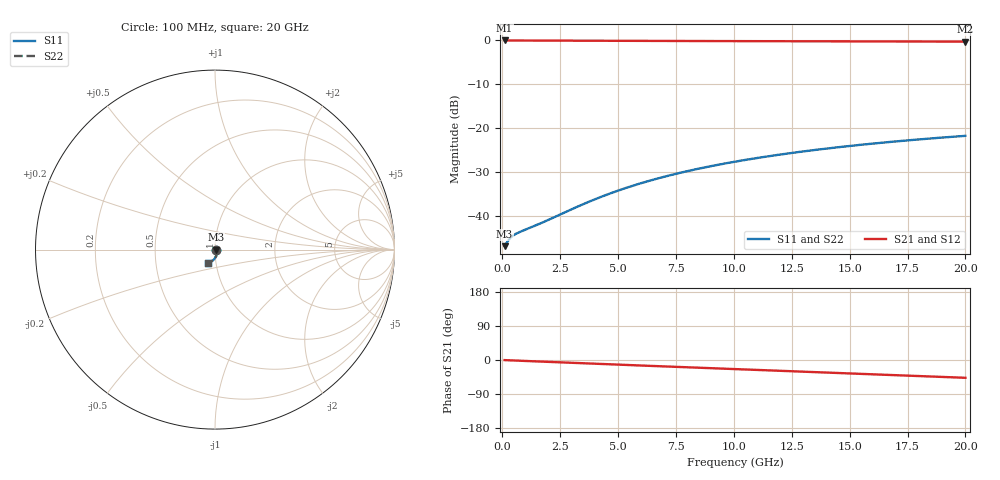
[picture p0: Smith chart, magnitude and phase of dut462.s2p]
! Touchstone file exported from HFSS 2026.1.0
!  File:  C:/ffzhzh/LocalFiles/Ansys_Project_Files/temp_train_BSMRDL_462_1783013527_51716.aedt
!  Generated:  01:33:36 AM Jul  3, 2026
!  Design:  BSMRDL
!  Project:  temp_train_BSMRDL_462_1783013527_51716
! Variables:
!  h_bsmrdl = 5.65um
!  h_ox = 20um
!  h_rdl = 5um
!  h_sub = 80um
!  h_tmrdl = 5um
!  h_tsv = 80um
!  h_via = 3um
!  l_bsmrdl = 861.8um
!  l_sub = 1261.8um
!  l_tmrdl = 200um
!  m_sub = 200um
!  pitch = 16.04um
!  r_tsv = 6um
!  s_tmrdl = 10um
!  w_bsmrdl = 12.57um
!  w_sub = 500um
!  w_tmrdl = 12um
!  x_tsv_center1 = 206um
!  x_tsv_center2 = 1080.37um
!  x_tsv_center3 = 1292.37um
!  x_tsv_center4 = 2166.74um
!  x_tsv_center5 = 2378.74um
!  x_tsv_center6 = 3253.11um
# GHz S MA R 50.000000
! Terminal data exported
! Port[1] = BSM_RDL1_1_T1
! Port[2] = BSM_RDL1_1_T2
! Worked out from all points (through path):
!   200 points, 100 MHz to 20 GHz, reference 50 ohm
!   highest |S21| = -0.04 dB at 100 MHz (marker M1); lowest = -0.3 dB at 20 GHz (marker M2)
!   group delay of S21, straight-line fit = 6.49 ps
!   lowest |S11| = -46.9 dB at 100 MHz (marker M3), VSWR 1.01, Z = 50.5 + j0.0454 ohm
!   |S11| at or under -10 dB: start of sweep to end of sweep
!   |S22| runs from -46.9 to -21.8 dB; largest |S21 - S12| = 8.2e-15
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0.1  0.004505 5.7  0.9955 -0.3  0.9955 -0.3  0.004505 5.7
! Gamma 0 0 0 0
! Port Impedance 50 0 50 0
0.2  0.00497 7.4  0.9951 -0.6  0.9951 -0.6  0.00497 7.4
0.3  0.005415 6.0  0.9946 -0.8  0.9946 -0.8  0.005415 6.0
0.4  0.005766 3.4  0.9942 -1.1  0.9942 -1.1  0.005766 3.4
0.5  0.006036 0.6  0.994 -1.3  0.994 -1.3  0.006036 0.6
0.6  0.006254 -2.3  0.9937 -1.6  0.9937 -1.6  0.006254 -2.3
1.7  0.008297 -24.9  0.9922 -4.3  0.9922 -4.3  0.008299 -24.9
3.5  0.01358 -45.9  0.9891 -8.6  0.9891 -8.6  0.01359 -45.9
4.3  0.01655 -52.6  0.9876 -10.6  0.9876 -10.6  0.01656 -52.6
5.1  0.01976 -58.5  0.986 -12.5  0.986 -12.5  0.01977 -58.4
5.9  0.02312 -63.7  0.9846 -14.3  0.9846 -14.3  0.02313 -63.6
6.8  0.02701 -68.9  0.983 -16.5  0.983 -16.5  0.02703 -68.8
7.6  0.03053 -73.1  0.9817 -18.3  0.9817 -18.3  0.03055 -73.1
8.4  0.03407 -77.1  0.9805 -20.2  0.9805 -20.2  0.03409 -77.0
9.2  0.03761 -80.7  0.9793 -22.1  0.9793 -22.1  0.03764 -80.6
10.1  0.04158 -84.5  0.978 -24.1  0.978 -24.1  0.04161 -84.5
11.7  0.04857 -90.8  0.9758 -27.9  0.9758 -27.9  0.0486 -90.7
13.4  0.05583 -96.9  0.9736 -31.8  0.9736 -31.8  0.05587 -96.7
15  0.06246 -102.2  0.9715 -35.5  0.9715 -35.5  0.0625 -102.0
16.7  0.06924 -107.5  0.9694 -39.4  0.9694 -39.4  0.06929 -107.3
18.3  0.07534 -112.3  0.9674 -43.1  0.9674 -43.1  0.0754 -112.1
20  0.08148 -117.1  0.9652 -47.0  0.9652 -47.0  0.08154 -117.0
